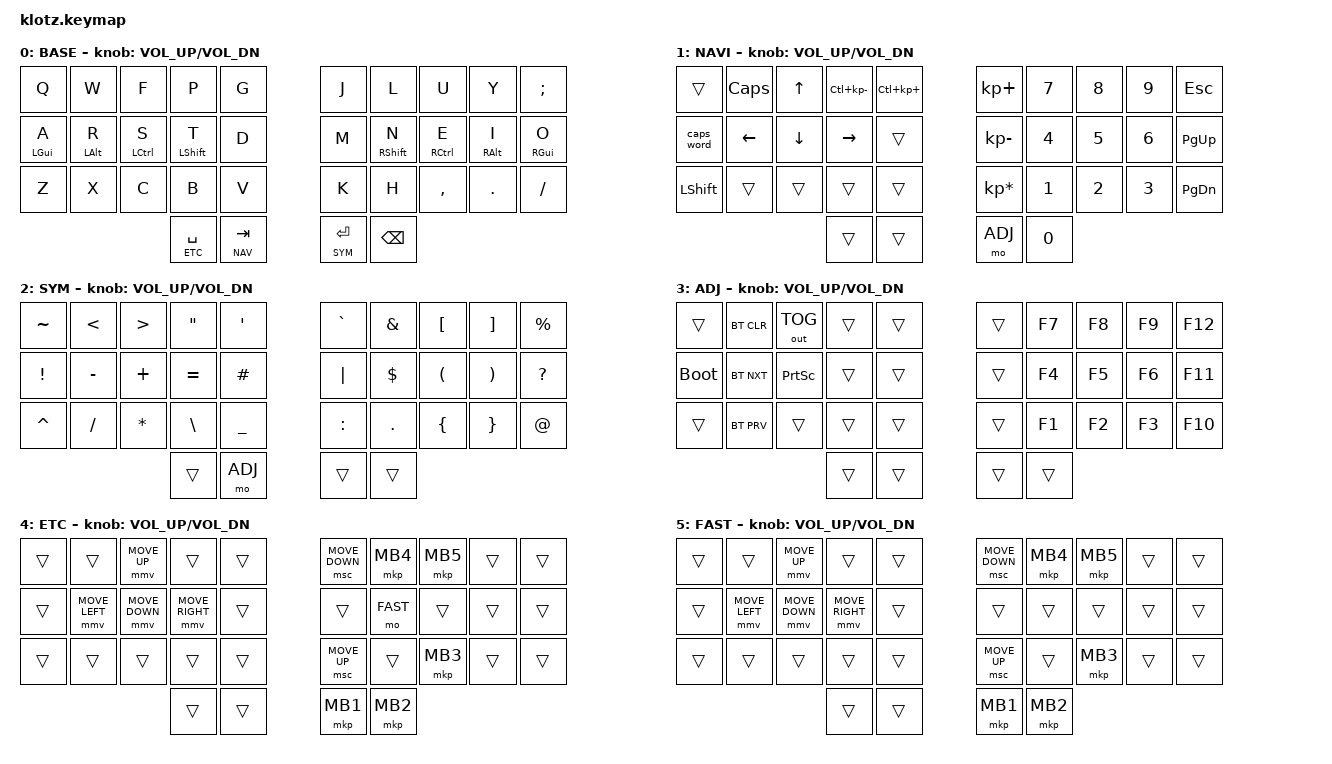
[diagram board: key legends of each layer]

//                                      █         ██        ▄▀▀▀▀▀▀▀▀▀▀█▀▀▀▀▀▀▀▀█▀▀▀▀▀▀▀▀▀▀█
//                                      █        █ █      ▄▀            ▀▄      █         █
//                                      █       █  █    ▄▀                ▀▄    █        █
//                                      █      █   █   █                    █   █       █
//                                      █     █    █   █                    █   █      █
//                                      █    █     █   █                    █   █  ▀▀▀█▀▀▀▀
//                                      █   █ █    █   █                    █   █    █
//                                      █  █   █   █   █                    █   █   █
//                                      █ █     █  █    ▀▄                ▄▀    █  █
//                                      ██       █ █      ▀▄            ▄▀      █ █
//                                      █         ██▄▄▄▄▄▄▄▄█▄▄▄▄▄▄▄▄▄▄▀        ██▄▄▄▄▄▄▄▄▄▄
//
// ▄▄▄▄▄▄▄▄▄▄▄▄▄▄▄▄▄▄▄▄▄▄▄▄▄▄▄▄▄▄▄▄▄▄▄▄▄▄▄▄▄▄▄▄▄▄▄▄▄▄▄▄▄▄▄▄▄▄▄▄▄▄▄▄▄▄▄▄▄▄▄▄▄▄▄▄▄▄▄▄▄▄▄▄▄▄▄▄▄▄▄▄▄▄▄▄▄▄▄▄▄▄▄▄▄▄▄▄▄▄▄▄▄▄▄▄▄▄▄▄▄▄▄▄▄
       

#include <behaviors.dtsi>
#include <dt-bindings/zmk/keys.h>
#include <dt-bindings/zmk/bt.h>
#include <dt-bindings/zmk/outputs.h>
#include <dt-bindings/zmk/mouse.h>

#define ZMK_MOUSE_DEFAULT_MOVE_VAL 1800  // 600
#define ZMK_MOUSE_DEFAULT_SCRL_VAL 1     // 10

#include <dt-bindings/zmk/pointing.h>

#include <input/processors.dtsi>
#include <behaviors/mouse_keys.dtsi>

#define BASE 0
#define NAV 1
#define SYM 2
#define ADJ 3
#define ETC 4
#define FAST 5

// mouse movement
&mmv {
    acceleration-exponent = <1>;      // 1
    time-to-max-speed-ms = <500>;     // 300
    delay-ms = <0>;                   // 0
};

&mmv_input_listener {
    compatible = "zmk,input-listener";
    device     = <&mmv>;
    fast {
        layers           = <FAST>;
        input-processors = <&zip_xy_scaler 6 1>;
    };
};


&msc {
  acceleration-exponent = <0>;          // 0
  time-to-max-speed-ms = <500>;         // 300
  delay-ms = <0>;                       // 0
};

&mt {
  global-quick-tap;
  flavor = "tap-preferred";
  tapping-term-ms = <150>;
};

&lt {
  quick-tap-ms = <150>; // This allows the tapped key to be repeated.
  tapping-term-ms = <150>;
};

/ {
     combos {
            compatible = "zmk,combos";
            combo_esc {
                timeout-ms = <50>;
                key-positions = <0 1>;
                bindings = <&kp ESC>;
            };
    };

    behaviors {
        // Create custom behavior that is similar to the global `&mt`
        // configuration, but sets longer `tapping-term-ms`. This makes
        // it more difficult to trigger the hold behavior.
        lt_mt: long_tap_mod_tap {
            compatible = "zmk,behavior-hold-tap";
            label = "LONG_TAP";
            #binding-cells = <2>;
            flavor = "tap-preferred";
            tapping-term-ms = <210>;
            bindings = <&kp>, <&kp>;
        };
    };

        keymap {
                compatible = "zmk,keymap";


                base_layer {
// ┏━━━━━━━━━━━━━━━━━━━━━━━━━━━━━━━━━━━━━━━┓
label= "BASE"                              ;
// ┗━━━━━━━━━━━━━━━━━━━━━━━━━━━━━━━━━━━━━━━┛
// ┏━━━━━━━━━━━┳━━━━━━━━━━━┳━━━━━━━━━━━┳━━━━━━━━━━━┳━━━━━━━━━━━┓   ┏━━━━━━━━━━━┳━━━━━━━━━━━┳━━━━━━━━━━━┳━━━━━━━━━━━┳━━━━━━━━━━━┓
// ┃     Q     ┃     W     ┃     F     ┃     P     ┃     G     ┃   ┃     J     ┃     L     ┃     U     ┃     Y     ┃     ;     ┃
// ┣━━━━━━━━━━━╋━━━━━━━━━━━╋━━━━━━━━━━━╋━━━━━━━━━━━╋━━━━━━━━━━━┫   ┣━━━━━━━━━━━╋━━━━━━━━━━━╋━━━━━━━━━━━╋━━━━━━━━━━━╋━━━━━━━━━━━┫
// ┃     A     ┃     R     ┃     S     ┃     T     ┃     D     ┃   ┃     M     ┃     N     ┃     E     ┃     I     ┃     O     ┃
// ┣━━━━━━━━━━━╋━━━━━━━━━━━╋━━━━━━━━━━━╋━━━━━━━━━━━╋━━━━━━━━━━━┫   ┣━━━━━━━━━━━╋━━━━━━━━━━━╋━━━━━━━━━━━╋━━━━━━━━━━━╋━━━━━━━━━━━┫
// ┃     Z     ┃     X     ┃     C     ┃     B     ┃     V     ┃   ┃     K     ┃     H     ┃     ,     ┃     .     ┃     /     ┃
// ┗━━━━━━━━━━━┻━━━━━━━━━━━┻━━━━━━━━━━━╋━━━━━━━━━━━╋━━━━━━━━━━━┫   ┣━━━━━━━━━━━╋━━━━━━━━━━━╋━━━━━━━━━━━┻━━━━━━━━━━━┻━━━━━━━━━━━┛
//                                     ┃    SPC    ┃    TAB    ┃   ┃   ENTER   ┃   BSPC    ┃
//                                     ┗━━━━━━━━━━━┻━━━━━━━━━━━┛   ┗━━━━━━━━━━━┻━━━━━━━━━━━┛
 bindings = <
// ╷           ╷           ╷           ╷           ╷           ╷   ╷           ╷           ╷           ╷           ╷           ╷

    &kp Q       &kp W       &kp F       &kp P       &kp G           &kp J       &kp L       &kp U       &kp Y       &kp SEMI
    &lt_mt LGUI A &mt LALT R &mt LCTRL S &mt LSHIFT T &kp D         &kp M       &mt RSHFT N &mt RCTRL E &mt RALT I  &mt RGUI O
    &kp Z       &kp X       &kp C       &kp B       &kp V           &kp K       &kp H       &kp COMMA   &kp DOT     &kp FSLH
                                        &lt ETC SPACE  &lt NAV TAB      &lt SYM RET  &kp BSPC    

                        >;
            sensor-bindings = <&inc_dec_kp C_VOL_UP C_VOL_DN>;
                };

// ▄▄▄▄▄▄▄▄▄▄▄▄▄▄▄▄▄▄▄▄▄▄▄▄▄▄▄▄▄▄▄▄▄▄▄▄▄▄▄▄▄▄▄▄▄▄▄▄▄▄▄▄▄▄▄▄▄▄▄▄▄▄▄▄▄▄▄▄▄▄▄▄▄▄▄▄▄▄▄▄▄▄▄▄▄▄▄▄▄▄▄▄▄▄▄▄▄▄▄▄▄▄▄▄▄▄▄▄▄▄▄▄▄▄▄▄▄▄▄▄▄▄▄▄▄

                nav_layer {
// ┏━━━━━━━━━━━━━━━━━━━━━━━━━━━━━━━━━━━━━━━┓
label= "NAVI"                              ;
// ┗━━━━━━━━━━━━━━━━━━━━━━━━━━━━━━━━━━━━━━━┛
// ┏━━━━━━━━━━━┳━━━━━━━━━━━┳━━━━━━━━━━━┳━━━━━━━━━━━┳━━━━━━━━━━━┓   ┏━━━━━━━━━━━┳━━━━━━━━━━━┳━━━━━━━━━━━┳━━━━━━━━━━━┳━━━━━━━━━━━┓
// ┃           ┃   C LOCK  ┃     UP    ┃  ZOOM OUT ┃  ZOOM IN  ┃   ┃     +     ┃     7     ┃     8     ┃     9     ┃  ESCAPE   ┃
// ┣━━━━━━━━━━━╋━━━━━━━━━━━╋━━━━━━━━━━━╋━━━━━━━━━━━╋━━━━━━━━━━━┫   ┣━━━━━━━━━━━╋━━━━━━━━━━━╋━━━━━━━━━━━╋━━━━━━━━━━━╋━━━━━━━━━━━┫
// ┃ CAPS WORD ┃   LEFT    ┃    DOWN   ┃   RIGHT   ┃           ┃   ┃     -     ┃     4     ┃     5     ┃     6     ┃   P UP    ┃
// ┣━━━━━━━━━━━╋━━━━━━━━━━━╋━━━━━━━━━━━╋━━━━━━━━━━━╋━━━━━━━━━━━┫   ┣━━━━━━━━━━━╋━━━━━━━━━━━╋━━━━━━━━━━━╋━━━━━━━━━━━╋━━━━━━━━━━━┫
// ┃  SHIFT    ┃           ┃           ┃           ┃           ┃   ┃     *     ┃     1     ┃     2     ┃     3     ┃  P DOWN   ┃
// ┗━━━━━━━━━━━┻━━━━━━━━━━━┻━━━━━━━━━━━╋━━━━━━━━━━━╋━━━━━━━━━━━┫   ┣━━━━━━━━━━━╋━━━━━━━━━━━╋━━━━━━━━━━━┻━━━━━━━━━━━┻━━━━━━━━━━━┛
//                                     ┃           ┃           ┃   ┃  mo ADJ   ┃     0     ┃
//                                     ┗━━━━━━━━━━━┻━━━━━━━━━━━┛   ┗━━━━━━━━━━━┻━━━━━━━━━━━┛
 bindings = <
// ╷           ╷           ╷           ╷           ╷           ╷   ╷           ╷           ╷           ╷           ╷           ╷

    &trans      &kp CAPS    &kp UP   &kp LC(KP_MINUS) &kp LC(KP_PLUS) &kp KP_PLUS  &kp N7  &kp N8  &kp N9  &kp ESC
    &caps_word  &kp LEFT    &kp DOWN      &kp RIGHT   &trans        &kp KP_MINUS    &kp N4 &kp N5  &kp N6  &kp PG_UP
    &kp LSHFT   &trans      &trans        &trans      &trans        &kp KP_MULTIPLY &kp N1 &kp N2  &kp N3  &kp PG_DN
                                        &trans      &trans          &mo ADJ     &kp N0

                        >;
            sensor-bindings = <&inc_dec_kp C_VOL_UP C_VOL_DN>;
                };
// ▄▄▄▄▄▄▄▄▄▄▄▄▄▄▄▄▄▄▄▄▄▄▄▄▄▄▄▄▄▄▄▄▄▄▄▄▄▄▄▄▄▄▄▄▄▄▄▄▄▄▄▄▄▄▄▄▄▄▄▄▄▄▄▄▄▄▄▄▄▄▄▄▄▄▄▄▄▄▄▄▄▄▄▄▄▄▄▄▄▄▄▄▄▄▄▄▄▄▄▄▄▄▄▄▄▄▄▄▄▄▄▄▄▄▄▄▄▄▄▄▄▄▄▄▄


                sim_layer {
// ┏━━━━━━━━━━━━━━━━━━━━━━━━━━━━━━━━━━━━━━━┓
label= "SYM"                               ;
// ┗━━━━━━━━━━━━━━━━━━━━━━━━━━━━━━━━━━━━━━━┛
// ┏━━━━━━━━━━━┳━━━━━━━━━━━┳━━━━━━━━━━━┳━━━━━━━━━━━┳━━━━━━━━━━━┓   ┏━━━━━━━━━━━┳━━━━━━━━━━━┳━━━━━━━━━━━┳━━━━━━━━━━━┳━━━━━━━━━━━┓
// ┃     ~     ┃     <     ┃     >     ┃     "     ┃     '     ┃   ┃     `     ┃     &     ┃     [     ┃     ]     ┃     %     ┃
// ┣━━━━━━━━━━━╋━━━━━━━━━━━╋━━━━━━━━━━━╋━━━━━━━━━━━╋━━━━━━━━━━━┫   ┣━━━━━━━━━━━╋━━━━━━━━━━━╋━━━━━━━━━━━╋━━━━━━━━━━━╋━━━━━━━━━━━┫
// ┃     !     ┃     -     ┃     +     ┃     =     ┃     #     ┃   ┃     |     ┃     $     ┃     (     ┃     )     ┃     ?     ┃
// ┣━━━━━━━━━━━╋━━━━━━━━━━━╋━━━━━━━━━━━╋━━━━━━━━━━━╋━━━━━━━━━━━┫   ┣━━━━━━━━━━━╋━━━━━━━━━━━╋━━━━━━━━━━━╋━━━━━━━━━━━╋━━━━━━━━━━━┫
// ┃     ^     ┃     /     ┃     *     ┃     \     ┃     _     ┃   ┃     :     ┃     .     ┃     {     ┃     }     ┃     @     ┃
// ┗━━━━━━━━━━━┻━━━━━━━━━━━┻━━━━━━━━━━━╋━━━━━━━━━━━╋━━━━━━━━━━━┫   ┣━━━━━━━━━━━╋━━━━━━━━━━━╋━━━━━━━━━━━┻━━━━━━━━━━━┻━━━━━━━━━━━┛
//                                     ┃           ┃  mo ADJ   ┃   ┃           ┃           ┃
//                                     ┗━━━━━━━━━━━┻━━━━━━━━━━━┛   ┗━━━━━━━━━━━┻━━━━━━━━━━━┛
 bindings = <
// ╷           ╷           ╷           ╷           ╷           ╷   ╷           ╷           ╷           ╷           ╷           ╷

    &kp TILDE   &kp LT      &kp GT      &kp DQT     &kp SQT         &kp GRAVE   &kp AMPS    &kp LBKT    &kp RBKT    &kp PRCNT     
    &kp EXCL    &kp MINUS   &kp PLUS    &kp EQUAL   &kp HASH        &kp PIPE    &kp DLLR    &kp LPAR    &kp RPAR    &kp QMARK 
    &kp CARET   &kp FSLH    &kp ASTRK   &kp BSLH    &kp UNDER       &kp COLON   &kp DOT     &kp LBRC   &kp RBRC     &kp AT   
                                        &trans      &mo ADJ         &trans      &trans

                        >;
                sensor-bindings = <&inc_dec_kp C_VOL_UP C_VOL_DN>;
                };
// ▄▄▄▄▄▄▄▄▄▄▄▄▄▄▄▄▄▄▄▄▄▄▄▄▄▄▄▄▄▄▄▄▄▄▄▄▄▄▄▄▄▄▄▄▄▄▄▄▄▄▄▄▄▄▄▄▄▄▄▄▄▄▄▄▄▄▄▄▄▄▄▄▄▄▄▄▄▄▄▄▄▄▄▄▄▄▄▄▄▄▄▄▄▄▄▄▄▄▄▄▄▄▄▄▄▄▄▄▄▄▄▄▄▄▄▄▄▄▄▄▄▄▄▄▄

                adjust_layer {
// ┏━━━━━━━━━━━━━━━━━━━━━━━━━━━━━━━━━━━━━━━┓
label= "ADJ"                               ;
// ┗━━━━━━━━━━━━━━━━━━━━━━━━━━━━━━━━━━━━━━━┛
// ┏━━━━━━━━━━━┳━━━━━━━━━━━┳━━━━━━━━━━━┳━━━━━━━━━━━┳━━━━━━━━━━━┓   ┏━━━━━━━━━━━┳━━━━━━━━━━━┳━━━━━━━━━━━┳━━━━━━━━━━━┳━━━━━━━━━━━┓
// ┃           ┃ BT CLEAR  ┃  OUT TOG  ┃           ┃           ┃   ┃           ┃    F7     ┃    F8     ┃    F9     ┃    F12    ┃
// ┣━━━━━━━━━━━╋━━━━━━━━━━━╋━━━━━━━━━━━╋━━━━━━━━━━━╋━━━━━━━━━━━┫   ┣━━━━━━━━━━━╋━━━━━━━━━━━╋━━━━━━━━━━━╋━━━━━━━━━━━╋━━━━━━━━━━━┫
// ┃ BOOTLOAD  ┃ BT NEXT   ┃  PRINT    ┃           ┃           ┃   ┃           ┃    F4     ┃    F5     ┃    F6     ┃    F11    ┃
// ┣━━━━━━━━━━━╋━━━━━━━━━━━╋━━━━━━━━━━━╋━━━━━━━━━━━╋━━━━━━━━━━━┫   ┣━━━━━━━━━━━╋━━━━━━━━━━━╋━━━━━━━━━━━╋━━━━━━━━━━━╋━━━━━━━━━━━┫
// ┃           ┃ BT PREV   ┃           ┃           ┃           ┃   ┃           ┃    F1     ┃    F2     ┃    F3     ┃    F10    ┃
// ┗━━━━━━━━━━━┻━━━━━━━━━━━┻━━━━━━━━━━━╋━━━━━━━━━━━╋━━━━━━━━━━━┫   ┣━━━━━━━━━━━╋━━━━━━━━━━━╋━━━━━━━━━━━┻━━━━━━━━━━━┻━━━━━━━━━━━┛
//                                     ┃           ┃           ┃   ┃           ┃           ┃
//                                     ┗━━━━━━━━━━━┻━━━━━━━━━━━┛   ┗━━━━━━━━━━━┻━━━━━━━━━━━┛
 bindings = <
// ╷           ╷           ╷           ╷           ╷           ╷   ╷           ╷           ╷           ╷           ╷           ╷

    &trans      &bt BT_CLR  &out OUT_TOG &trans      &trans          &trans      &kp F7      &kp F8      &kp F9      &kp F12
    &bootloader &bt BT_NXT  &kp PSCRN    &trans      &trans          &trans      &kp F4      &kp F5      &kp F6      &kp F11
    &trans      &bt BT_PRV  &trans       &trans      &trans          &trans      &kp F1      &kp F2      &kp F3      &kp F10
                                         &trans      &trans          &trans      &trans
                        >;
            sensor-bindings = <&inc_dec_kp C_VOL_UP C_VOL_DN>;
                };
// ▄▄▄▄▄▄▄▄▄▄▄▄▄▄▄▄▄▄▄▄▄▄▄▄▄▄▄▄▄▄▄▄▄▄▄▄▄▄▄▄▄▄▄▄▄▄▄▄▄▄▄▄▄▄▄▄▄▄▄▄▄▄▄▄▄▄▄▄▄▄▄▄▄▄▄▄▄▄▄▄▄▄▄▄▄▄▄▄▄▄▄▄▄▄▄▄▄▄▄▄▄▄▄▄▄▄▄▄▄▄▄▄▄▄▄▄▄▄▄▄▄▄▄▄▄

                etc_layer {
// ┏━━━━━━━━━━━━━━━━━━━━━━━━━━━━━━━━━━━━━━━┓
label= "ETC"                               ;
// ┗━━━━━━━━━━━━━━━━━━━━━━━━━━━━━━━━━━━━━━━┛
// ┏━━━━━━━━━━━┳━━━━━━━━━━━┳━━━━━━━━━━━┳━━━━━━━━━━━┳━━━━━━━━━━━┓   ┏━━━━━━━━━━━┳━━━━━━━━━━━┳━━━━━━━━━━━┳━━━━━━━━━━━┳━━━━━━━━━━━┓
// ┃           ┃           ┃ MOVE UP   ┃           ┃           ┃   ┃scroll down┃   BACK    ┃ FORWARD   ┃           ┃           ┃
// ┣━━━━━━━━━━━╋━━━━━━━━━━━╋━━━━━━━━━━━╋━━━━━━━━━━━╋━━━━━━━━━━━┫   ┣━━━━━━━━━━━╋━━━━━━━━━━━╋━━━━━━━━━━━╋━━━━━━━━━━━╋━━━━━━━━━━━┫
// ┃           ┃ MOVE LEFT ┃ MOVE DOWN ┃ MOVE RIGHT┃           ┃   ┃           ┃  mo FAST  ┃           ┃           ┃           ┃
// ┣━━━━━━━━━━━╋━━━━━━━━━━━╋━━━━━━━━━━━╋━━━━━━━━━━━╋━━━━━━━━━━━┫   ┣━━━━━━━━━━━╋━━━━━━━━━━━╋━━━━━━━━━━━╋━━━━━━━━━━━╋━━━━━━━━━━━┫
// ┃           ┃           ┃           ┃           ┃           ┃   ┃ scroll up ┃           ┃ MID CLICK ┃           ┃           ┃
// ┗━━━━━━━━━━━┻━━━━━━━━━━━┻━━━━━━━━━━━╋━━━━━━━━━━━╋━━━━━━━━━━━┫   ┣━━━━━━━━━━━╋━━━━━━━━━━━╋━━━━━━━━━━━┻━━━━━━━━━━━┻━━━━━━━━━━━┛
//                                     ┃           ┃           ┃   ┃left click ┃right click┃
//                                     ┗━━━━━━━━━━━┻━━━━━━━━━━━┛   ┗━━━━━━━━━━━┻━━━━━━━━━━━┛
 bindings = <
// ╷           ╷           ╷           ╷           ╷         ╷ ╷              ╷              ╷         ╷           ╷           ╷

    &trans &trans         &mmv MOVE_UP  &trans      &trans       &msc MOVE_DOWN &mkp MB4      &mkp MB5   &trans       &trans
    &trans &mmv MOVE_LEFT &mmv MOVE_DOWN &mmv MOVE_RIGHT &trans  &trans         &mo FAST      &trans     &trans       &trans
    &trans &trans         &trans         &trans      &trans      &msc MOVE_UP   &trans        &mkp MB3   &trans       &trans
                                        &trans      &trans       &mkp MB1       &mkp MB2
                        >;
            sensor-bindings = <&inc_dec_kp C_VOL_UP C_VOL_DN>;
                };
// ▄▄▄▄▄▄▄▄▄▄▄▄▄▄▄▄▄▄▄▄▄▄▄▄▄▄▄▄▄▄▄▄▄▄▄▄▄▄▄▄▄▄▄▄▄▄▄▄▄▄▄▄▄▄▄▄▄▄▄▄▄▄▄▄▄▄▄▄▄▄▄▄▄▄▄▄▄▄▄▄▄▄▄▄▄▄▄▄▄▄▄▄▄▄▄▄▄▄▄▄▄▄▄▄▄▄▄▄▄▄▄▄▄▄▄▄▄▄▄▄▄▄▄▄▄

                fast_layer {
// ┏━━━━━━━━━━━━━━━━━━━━━━━━━━━━━━━━━━━━━━━┓
label= "FAST"                               ;
// ┗━━━━━━━━━━━━━━━━━━━━━━━━━━━━━━━━━━━━━━━┛
// ┏━━━━━━━━━━━┳━━━━━━━━━━━┳━━━━━━━━━━━┳━━━━━━━━━━━┳━━━━━━━━━━━┓   ┏━━━━━━━━━━━┳━━━━━━━━━━━┳━━━━━━━━━━━┳━━━━━━━━━━━┳━━━━━━━━━━━┓
// ┃           ┃           ┃ MOVE UP   ┃           ┃           ┃   ┃scroll down┃   BACK    ┃ FORWARD   ┃           ┃           ┃
// ┣━━━━━━━━━━━╋━━━━━━━━━━━╋━━━━━━━━━━━╋━━━━━━━━━━━╋━━━━━━━━━━━┫   ┣━━━━━━━━━━━╋━━━━━━━━━━━╋━━━━━━━━━━━╋━━━━━━━━━━━╋━━━━━━━━━━━┫
// ┃           ┃ MOVE LEFT ┃ MOVE DOWN ┃ MOVE RIGHT┃           ┃   ┃           ┃           ┃           ┃           ┃           ┃
// ┣━━━━━━━━━━━╋━━━━━━━━━━━╋━━━━━━━━━━━╋━━━━━━━━━━━╋━━━━━━━━━━━┫   ┣━━━━━━━━━━━╋━━━━━━━━━━━╋━━━━━━━━━━━╋━━━━━━━━━━━╋━━━━━━━━━━━┫
// ┃           ┃           ┃           ┃           ┃           ┃   ┃ scroll up ┃           ┃ MID CLICK ┃           ┃           ┃
// ┗━━━━━━━━━━━┻━━━━━━━━━━━┻━━━━━━━━━━━╋━━━━━━━━━━━╋━━━━━━━━━━━┫   ┣━━━━━━━━━━━╋━━━━━━━━━━━╋━━━━━━━━━━━┻━━━━━━━━━━━┻━━━━━━━━━━━┛
//                                     ┃           ┃           ┃   ┃left click ┃right click┃
//                                     ┗━━━━━━━━━━━┻━━━━━━━━━━━┛   ┗━━━━━━━━━━━┻━━━━━━━━━━━┛
 bindings = <
// ╷           ╷           ╷           ╷           ╷         ╷ ╷              ╷              ╷         ╷           ╷           ╷

    &trans &trans         &mmv MOVE_UP  &trans      &trans       &msc MOVE_DOWN &mkp MB4      &mkp MB5   &trans       &trans
    &trans &mmv MOVE_LEFT &mmv MOVE_DOWN &mmv MOVE_RIGHT &trans  &trans         &trans        &trans     &trans       &trans
    &trans &trans         &trans         &trans      &trans      &msc MOVE_UP   &trans        &mkp MB3   &trans       &trans
                                        &trans      &trans       &mkp MB1       &mkp MB2
                        >;
            sensor-bindings = <&inc_dec_kp C_VOL_UP C_VOL_DN>;
                };
// ▄▄▄▄▄▄▄▄▄▄▄▄▄▄▄▄▄▄▄▄▄▄▄▄▄▄▄▄▄▄▄▄▄▄▄▄▄▄▄▄▄▄▄▄▄▄▄▄▄▄▄▄▄▄▄▄▄▄▄▄▄▄▄▄▄▄▄▄▄▄▄▄▄▄▄▄▄▄▄▄▄▄▄▄▄▄▄▄▄▄▄▄▄▄▄▄▄▄▄▄▄▄▄▄▄▄▄▄▄▄▄▄▄▄▄▄▄▄▄▄▄▄▄▄▄
        };
};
